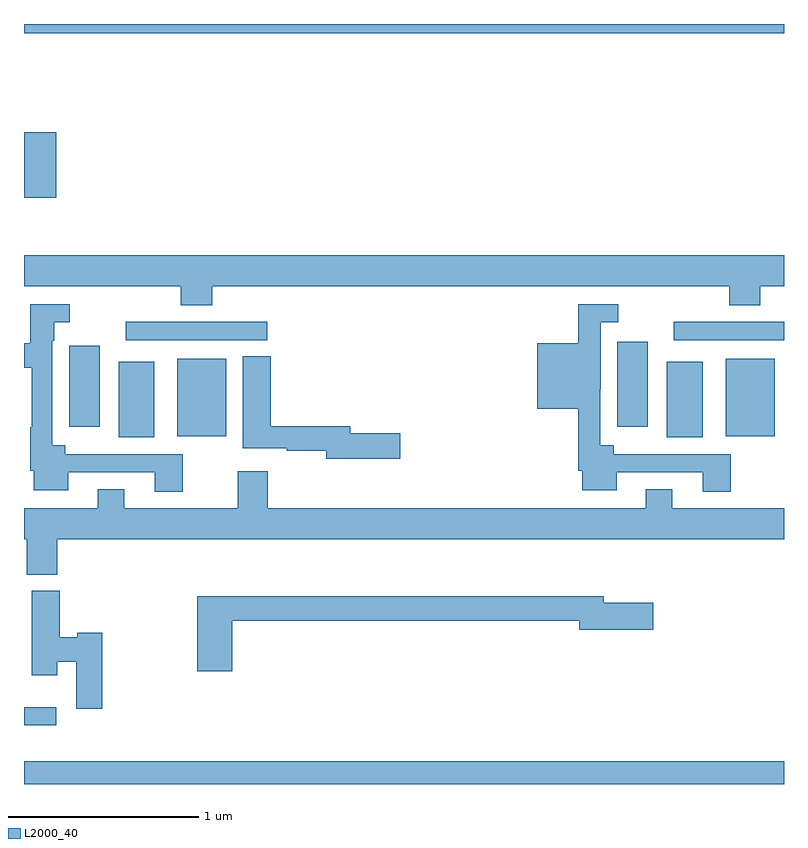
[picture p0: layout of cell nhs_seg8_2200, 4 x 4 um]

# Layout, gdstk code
import gdstk
lib = gdstk.Library(unit=1e-6, precision=1e-09)
def R(c, l, rs):  # rectangles x0, y0, x1, y1
    for r in rs: c.add(gdstk.rectangle(r[:2], r[2:], *l))
def P(c, l, *ps):  # polygons
    for p in ps: c.add(gdstk.Polygon(p, *l))
L2000_40 = (2000, 40)

nhs_seg8_2200 = lib.new_cell('nhs_seg8_2200')
R(nhs_seg8_2200, L2000_40, [(251,1093.9,255,1094.02), (251,1094.208,251.17,1094.304), (251.498,1095.725,251.686,1096.123), (254.384,1095.725,254.572,1096.123), (251.807,1095.731,252.064,1096.138), (254.693,1095.731,254.95,1096.138), (251.237,1095.78,251.398,1096.207), (254.123,1095.78,254.284,1096.228), (251.535,1096.236,252.28,1096.332), (254.421,1096.236,255,1096.332), (251,1096.985,251.17,1097.329), (251,1097.852,255,1097.9)])
P(nhs_seg8_2200, L2000_40, [(251.99,1096.52),(254.711,1096.52),(254.711,1096.421),(254.876,1096.421),(254.876,1096.52),(255,1096.52),(255,1096.684),(251,1096.684),(251,1096.52),(251.825,1096.52),(251.825,1096.421),(251.99,1096.421)],
  [(251.835,1095.636),(251.218,1095.636),(251.218,1095.682),(251.148,1095.682),(251.148,1096.232),(251.16,1096.232),(251.16,1096.329),(251.242,1096.329),(251.242,1096.425),(251.032,1096.425),(251.032,1096.219),(251,1096.219),(251,1096.09),(251.04,1096.09),(251.04,1095.778),(251.032,1095.778),(251.032,1095.55),(251.051,1095.55),(251.051,1095.446),(251.233,1095.446),(251.233,1095.54),(251.687,1095.54),(251.687,1095.438),(251.835,1095.438)],
  [(254.721,1095.636),(254.104,1095.636),(254.104,1095.682),(254.034,1095.682),(254.034,1095.979),(254.035,1095.979),(254.035,1096.329),(254.128,1096.329),(254.128,1096.425),(253.918,1096.425),(253.918,1096.219),(253.7,1096.219),(253.7,1095.875),(253.918,1095.875),(253.918,1095.55),(253.937,1095.55),(253.937,1095.446),(254.119,1095.446),(254.119,1095.54),(254.573,1095.54),(254.573,1095.438),(254.721,1095.438)],
  [(252.979,1095.746),(252.718,1095.746),(252.718,1095.782),(252.299,1095.782),(252.299,1096.151),(252.152,1096.151),(252.152,1095.666),(252.382,1095.666),(252.382,1095.654),(252.59,1095.654),(252.59,1095.611),(252.979,1095.611)],
  [(254.273,1095.451),(254.273,1095.352),(252.284,1095.352),(252.284,1095.547),(252.124,1095.547),(252.124,1095.352),(251.527,1095.352),(251.527,1095.451),(251.387,1095.451),(251.387,1095.352),(251,1095.352),(251,1095.188),(251.014,1095.188),(251.014,1095.001),(251.174,1095.001),(251.174,1095.188),(255,1095.188),(255,1095.352),(254.413,1095.352),(254.413,1095.451)],
  [(251.411,1094.696),(251.28,1094.696),(251.28,1094.673),(251.189,1094.673),(251.189,1094.916),(251.042,1094.916),(251.042,1094.472),(251.176,1094.472),(251.176,1094.543),(251.276,1094.543),(251.276,1094.295),(251.411,1094.295)],
  [(252.095,1094.758),(253.922,1094.758),(253.922,1094.711),(254.311,1094.711),(254.311,1094.853),(254.05,1094.853),(254.05,1094.887),(251.912,1094.887),(251.912,1094.493),(252.095,1094.493)])

lib.write_gds('nhs_seg8_2200.gds')
